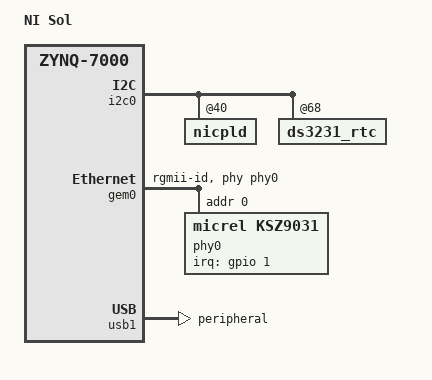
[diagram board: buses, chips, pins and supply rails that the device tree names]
/dts-v1/;
/include/ "ni-zynq.dtsi"

/* NIDEVCODE 774E */

/ {
	model = "NI Sol";
	compatible = "ni,zynq", "xlnx,zynq-7000";

	amba {
		gpio: gpio@e000a000 {
			/* You can specify GPIO settings here:
			 *
			 *  gpioN-label      String label.
			 *  gpioN-direction  "input" or "output".
			 *  gpioN-settings   "output" - specifies the GPIO state as "high"
			 *                              or "low".
			 *                   "input"  - specifies GPIO interrupt settings as
			 *                              "none", "level-low", "level-high",
			 *                              "edge-falling", "edge-rising", or
			 *                              "edge-both".
			 */

			/* GPIO1 (MIO1) */
			gpio1-label     = "phy_interrupt";
			gpio1-direction = "input";
			gpio1-settings  = "level-low";

			/* GPIO25 (MIO25) */
			gpio25-label     = "wdt_interrupt";
			gpio25-direction = "input";
			gpio25-settings  = "edge-falling";

			/* GPIO54 (EMIO0) */
			gpio54-label     = "eth0_link_speed_1000";
			gpio54-direction = "output";
			gpio54-settings  = "low";
		};

		i2c0: i2c@e0004000 {
			nicpld@40 {
				watchdogs {
					boot-watchdog {
						interrupt-parent = <&gpio>;
						interrupts = <25 0>;
					};
				};

				leds {
					user1-0 {
						label = "nilrt:user1:green";
					};
					status-0 {
						label = "nilrt:status:yellow";
						max-brightness = <0xFFFF>;
					};
					eth0-0 {
						label = "nilrt:eth0:green";
						linux,default-trigger =
						  "e000b000.etherne:00:100Mb";
					};
					eth0-1 {
						label = "nilrt:eth0:yellow";
						linux,default-trigger =
						  "e000b000.etherne:00:Gb";
					};
				};
			};

			ds3231_rtc@68 {
				status = "okay";
			};
		};
	};
};

&gem0 {
	status = "okay";
	clocks = <&clkc 30>, <&clkc 13>, <&clkc 15>;
	clock-names = "pclk", "hclk", "tx_clk";
	phy-handle = <&phy0>;
	phy-mode = "rgmii-id";
	cdns,emio-gpio-speed-1000 = <54>;

	#address-cells = <0x1>;
	#size-cells = <0x0>;

	phy0: phy@0 {
		compatible = "micrel,KSZ9031";
		device_type = "ethernet-phy";
		reg = <0x0>;
		/* Interrupt on GPIO1. */
		interrupts = <1 0>;
		interrupt-parent = <&gpio>;
	};
};

&usb1 {
	status = "okay";
	dr_mode = "peripheral";
};
